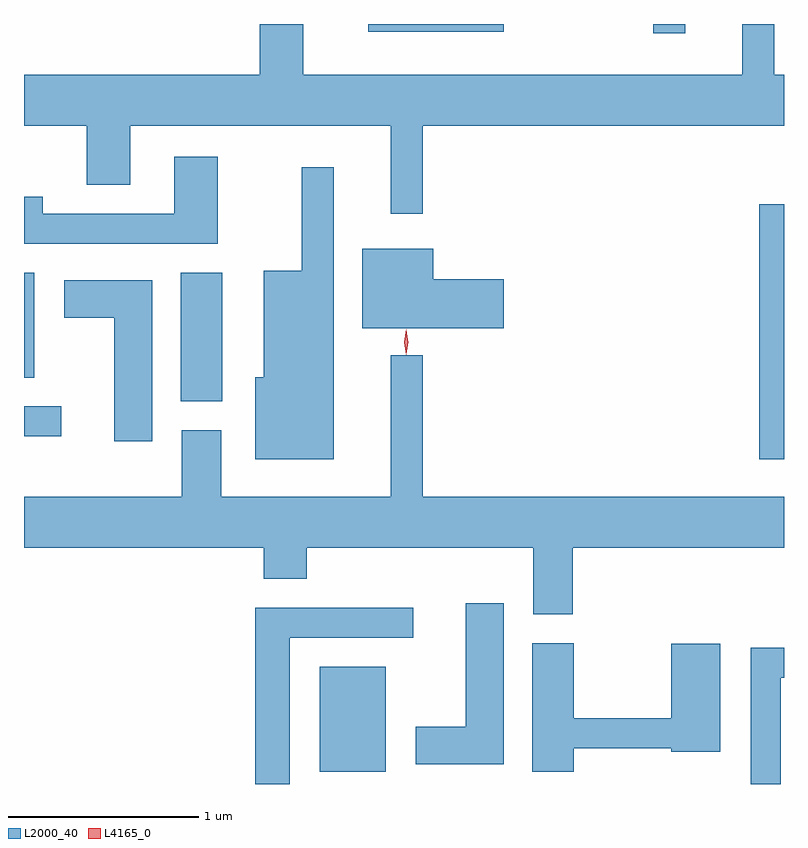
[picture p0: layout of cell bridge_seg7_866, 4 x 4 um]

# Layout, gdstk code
import gdstk
lib = gdstk.Library(unit=1e-6, precision=1e-09)
def R(c, l, rs):  # rectangles x0, y0, x1, y1
    for r in rs: c.add(gdstk.rectangle(r[:2], r[2:], *l))
def P(c, l, *ps):  # polygons
    for p in ps: c.add(gdstk.Polygon(p, *l))
L2000_40 = (2000, 40)
L4165_0 = (4165, 0)

bridge_seg7_866 = lib.new_cell('bridge_seg7_866')
R(bridge_seg7_866, L2000_40, [(257.816,1686.496,258.164,1687.049), (260.131,1688.141,260.26,1689.484), (256.26,1688.261,256.457,1688.419), (257.086,1688.446,257.304,1689.124), (256.26,1688.571,256.314,1689.124), (259.571,1690.383,259.739,1690.432), (258.071,1690.391,258.784,1690.432)])
P(bridge_seg7_866, L2000_40, [(258.359,1689.896),(260.26,1689.896),(260.26,1690.164),(260.209,1690.164),(260.209,1690.432),(260.041,1690.432),(260.041,1690.164),(257.729,1690.164),(257.729,1690.432),(257.501,1690.432),(257.501,1690.164),(256.26,1690.164),(256.26,1689.896),(256.591,1689.896),(256.591,1689.586),(256.819,1689.586),(256.819,1689.896),(258.191,1689.896),(258.191,1689.433),(258.359,1689.433)],
  [(257.279,1689.734),(257.051,1689.734),(257.051,1689.434),(256.359,1689.434),(256.359,1689.524),(256.26,1689.524),(256.26,1689.276),(257.279,1689.276)],
  [(257.889,1689.678),(257.721,1689.678),(257.721,1689.134),(257.521,1689.134),(257.521,1688.574),(257.476,1688.574),(257.476,1688.141),(257.889,1688.141)],
  [(258.784,1689.089),(258.414,1689.089),(258.414,1689.249),(258.041,1689.249),(258.041,1688.831),(258.784,1688.831)],
  [(256.934,1689.084),(256.471,1689.084),(256.471,1688.886),(256.736,1688.886),(256.736,1688.236),(256.934,1688.236)],
  [(259.149,1687.676),(260.26,1687.676),(260.26,1687.944),(258.359,1687.944),(258.359,1688.688),(258.191,1688.688),(258.191,1687.944),(257.299,1687.944),(257.299,1688.294),(257.091,1688.294),(257.091,1687.944),(256.26,1687.944),(256.26,1687.676),(257.521,1687.676),(257.521,1687.511),(257.749,1687.511),(257.749,1687.676),(258.941,1687.676),(258.941,1687.326),(259.149,1687.326)],
  [(258.784,1687.384),(258.586,1687.384),(258.586,1686.734),(258.321,1686.734),(258.321,1686.536),(258.784,1686.536)],
  [(257.659,1687.201),(258.308,1687.201),(258.308,1687.359),(257.476,1687.359),(257.476,1686.432),(257.659,1686.432)],
  [(259.154,1686.621),(259.666,1686.621),(259.666,1686.601),(259.924,1686.601),(259.924,1687.169),(259.666,1687.169),(259.666,1686.779),(259.154,1686.779),(259.154,1687.174),(258.936,1687.174),(258.936,1686.496),(259.154,1686.496)],
  [(260.244,1686.991),(260.26,1686.991),(260.26,1687.149),(260.086,1687.149),(260.086,1686.432),(260.244,1686.432)])
P(bridge_seg7_866, L4165_0, [(258.272,1688.693),(258.271,1688.694),(258.262,1688.756),(258.271,1688.819),(258.271,1688.82),(258.272,1688.819),(258.282,1688.756),(258.272,1688.694)],
  [(258.271,1688.69),(258.262,1688.758),(258.271,1688.826),(258.271,1688.826),(258.272,1688.826),(258.281,1688.758),(258.272,1688.69),(258.272,1688.69)])

lib.write_gds('bridge_seg7_866.gds')
